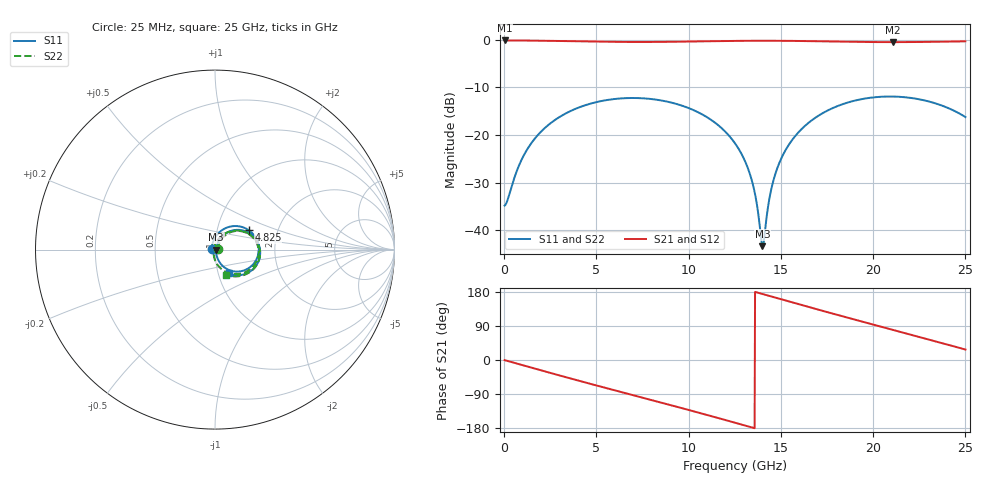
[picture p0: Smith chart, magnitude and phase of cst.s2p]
! thru_BV_vna_clk_w5_in: 2×thru F.Cu, 6 mm
! stackup: as the board case
! ports: 1 near, 2 far
! CST Studio Suite 2025.5 Release from 2025-05-30, time domain (FIT, hexahedral, PBA), 117936 mesh cells, 32 s
! mesh: {'lpw': 20, 'lpb': 20, 'minstep': 0.0, 'ratio': 20}; ports: port 1 (face); port 2 (face)
! interpolated from CST's 1001 samples to the case grid
# Hz S RI R 50
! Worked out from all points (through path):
!   1000 points, 25 MHz to 25 GHz, reference 50 ohm
!   highest |S21| = -0.17 dB at 25 MHz (marker M1); lowest = -0.5 dB at 21.05 GHz (marker M2)
!   group delay of S21, straight-line fit = 36.9 ps
!   lowest |S11| = -43.3 dB at 14 GHz (marker M3), VSWR 1.01, Z = 50.7 - j0.107 ohm
!   |S11| at or under -10 dB: start of sweep to end of sweep
!   |S22| runs from -43.3 to -11.9 dB; largest |S21 - S12| = 3.6e-07
!   S11 on the Smith chart (normalised r, x): 25 MHz: 0.96, +0.00; 4.825 GHz: 1.42, +0.32; 25 GHz: 1.13, -0.31
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2.5e7  -0.0181 0.00149  0.9802 -0.00586  0.9802 -0.00586  0.0181 0.00127
8.75e8  -0.00787 0.0508  0.9577 -0.2032  0.9577 -0.2032  0.0278 0.0432
1.6e9  0.015 0.0871  0.906 -0.3637  0.906 -0.3637  0.0494 0.0733
2.725e9  0.0698 0.124  0.7733 -0.5846  0.7733 -0.5846  0.1002 0.101
4.2e9  0.1552 0.1245  0.526 -0.8012  0.526 -0.8012  0.176 0.0929
4.825e9  0.1878 0.1083  0.4045 -0.8639  0.4045 -0.8639  0.2034 0.0749
6.575e9  0.2418 0.026  0.0406 -0.9446  0.0406 -0.9446  0.2431 -0.00515
8.35e9  0.2223 -0.0693  -0.329 -0.8872  -0.329 -0.8872  0.2138 -0.0924
1.08e10  0.1066 -0.1215  -0.7604 -0.5856  -0.7604 -0.5856  0.0902 -0.1341
1.2525e10  0.029 -0.0757  -0.9396 -0.2407  -0.9396 -0.2407  0.0109 -0.0803
1.34e10  0.0095 -0.0333  -0.9719 -0.041  -0.9719 -0.041  -0.00666 -0.034
1.4e10  0.00672 -0.00105  -0.9685 0.0987  -0.9685 0.0987  -0.0068 0.000325
1.41e10  0.00715 0.00436  -0.9659 0.1218  -0.9659 0.1218  -0.00584 0.006
1.45e10  0.0114 0.0257  -0.9495 0.2137  -0.9495 0.2137  0.000716 0.0281
1.4925e10  0.0203 0.0472  -0.922 0.3088  -0.922 0.3088  0.0123 0.0499
1.565e10  0.0449 0.0788  -0.8526 0.4619  -0.8526 0.4619  0.0415 0.0806
1.6675e10  0.0952 0.1061  -0.7119 0.6497  -0.7119 0.6497  0.097 0.1044
1.875e10  0.2077 0.0797  -0.3234 0.8925  -0.3234 0.8925  0.2105 0.0718
2.085e10  0.2512 -0.0307  0.1227 0.9333  0.1227 0.9333  0.2506 -0.0352
2.105e10  0.2493 -0.0423  0.1648 0.9267  0.1648 0.9267  0.2486 -0.0463
2.295e10  0.1869 -0.1275  0.542 0.7763  0.542 0.7763  0.1841 -0.1315
2.5e10  0.079 -0.1324  0.8504 0.4446  0.8504 0.4446  0.0636 -0.1404
